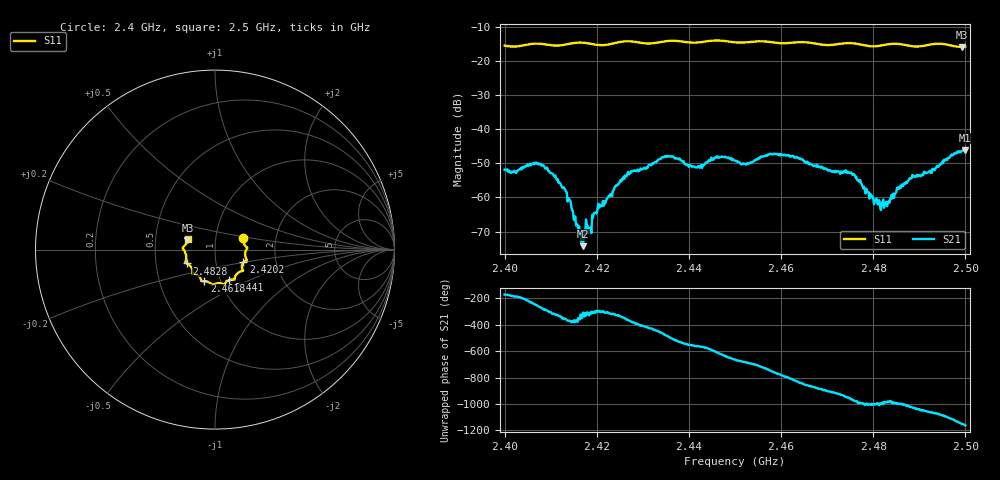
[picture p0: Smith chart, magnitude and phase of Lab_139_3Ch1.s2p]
# Hz S RI R 50
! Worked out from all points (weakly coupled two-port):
!   601 points, 2.4 GHz to 2.5 GHz, reference 50 ohm
!   highest |S21| = -46.07 dB at 2.4998 GHz (marker M1); lowest = -74.3 dB at 2.417 GHz (marker M2)
!   lowest |S11| = -15.8 dB at 2.4993 GHz (marker M3), VSWR 1.39, Z = 36.5 + j3.85 ohm
!   |S11| at or under -10 dB: start of sweep to end of sweep
!   S12 and S22 are empty: the file has one direction only
!   S11 on the Smith chart (normalised r, x): 2.4 GHz: 1.36, +0.18; 2.4202 GHz: 1.36, -0.20; 2.441 GHz: 1.10, -0.39; 2.4618 GHz: 0.84, -0.30; 2.4828 GHz: 0.72, -0.11; 2.5 GHz: 0.73, +0.09
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2.4e9  0.1574 0.0626  -0.00253 -0.000435  0 0  0 0
2.408833e9  0.1768 0.00328  0.000755 0.00254  0 0  0 0
2.413e9  0.1696 -0.0394  0.00134 0.000162  0 0  0 0
2.416667e9  0.1776 -0.06  0.000216 3.93e-05  0 0  0 0
2.417e9  0.1769 -0.0606  0.000118 0.000153  0 0  0 0
2.420167e9  0.1583 -0.0708  0.000282 0.000615  0 0  0 0
2.426333e9  0.1568 -0.1175  0.00205 6.94e-05  0 0  0 0
2.433333e9  0.1123 -0.1511  4.71e-05 -0.00357  0 0  0 0
2.436167e9  0.1098 -0.1665  -0.00315 -0.00248  0 0  0 0
2.441e9  0.0786 -0.1696  -0.00272 0.000907  0 0  0 0
2.446e9  0.0508 -0.1949  -0.0015 0.0037  0 0  0 0
2.45e9  0.0286 -0.1872  0.00189 0.0029  0 0  0 0
2.461833e9  -0.0593 -0.1755  0.000377 -0.00402  0 0  0 0
2.466667e9  -0.078 -0.1683  -0.00257 -0.00161  0 0  0 0
2.4755e9  -0.1266 -0.1329  -0.000832 0.00198  0 0  0 0
2.4805e9  -0.1385 -0.0902  0.000186 0.000875  0 0  0 0
2.482833e9  -0.1575 -0.0773  -5.53e-05 0.000864  0 0  0 0
2.483333e9  -0.1605 -0.0758  -8.32e-05 0.000873  0 0  0 0
2.488333e9  -0.1601 -0.0457  0.00109 0.00158  0 0  0 0
2.499333e9  -0.1534 0.0513  0.00151 -0.00463  0 0  0 0
2.499833e9  -0.1521 0.0587  0.001 -0.00487  0 0  0 0
2.5e9  -0.1518 0.0609  0.000561 -0.00483  0 0  0 0
